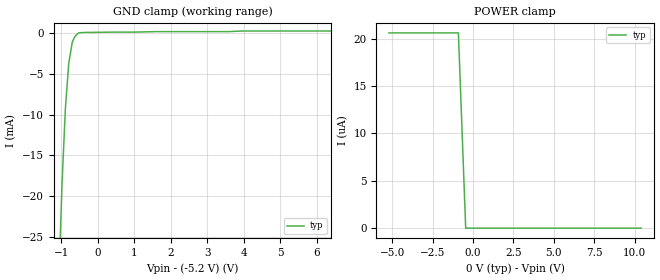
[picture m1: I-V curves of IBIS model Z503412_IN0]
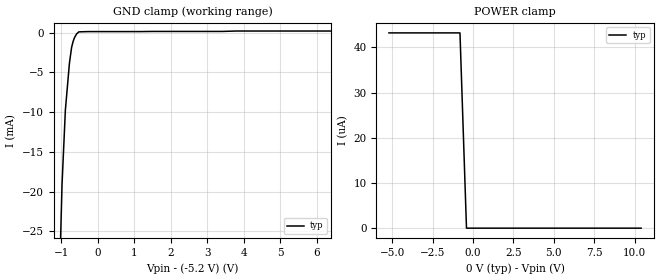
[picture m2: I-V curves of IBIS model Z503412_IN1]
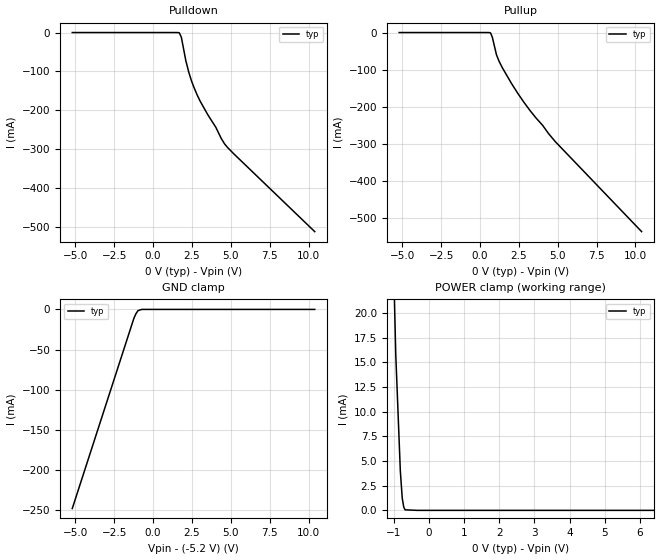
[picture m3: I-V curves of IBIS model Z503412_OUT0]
| YOU ARE ONLY AUTHORIZED TO USE THIS SOFTWARE
| ACCORDING TO LICENSOR'S LICENSE RESTRICTIONS.
[IBIS Ver] 3.1
[File Name] mc10e1652fn.ibs
[File Rev] 1
[Source]Derived from mc10e1651fn.ibs Measured and created by ICX Technology
[Date] 5/12/2004
[Copyright]
| (C) COPYRIGHT 1993-2000
| MENTOR GRAPHICS CORPORATION
| ICX STANDARD LIBRARY, ICX PROJECT MODELING,
| ICX CUSTOM MODELING, ICX VENDOR MODEL
| ALL RIGHTS RESERVED.
| THE FOLLOWING ARE TRADEMARKS OR SERVICE MARKS OF
| MENTOR GRAPHICS CORPORATION:ICX (R), ICX STANDARD
| LIBRARY(R), ICX PROJECT MODELING(R), ICX CUSTOM
| MODELING(R), qualityIBIS(TM), MODELVIEWER(TM),
| AND MODELEDITOR(TM)
| ALL COPIES OF SOFTWARE, INCLUDING BUT NOT LIMITED TO
| ANY MODIFICATIONS, ENHANCEMENTS OR DERIVATIVE WORKS,
| MUST CONTAIN ALL MENTOR GRAPHICS CORPORATION'S
| NOTICES AND LEGENDS, INCLUDING THOSE EMBEDDED IN
| SOFTWARE AND THOSE AFFIXED TO SOFTWARE MEDIUM
| AND CONTAINER, AS RECEIVED FROM MENTOR GRAPHICS
| CORPORATION.
|  ZAP Model Builder 2.7
[Component] MC10E1652FN
[Manufacturer] OnSemiconductor
[Package]
| variable   typ   min   max
R_pkg  .078ohms NA NA
L_pkg  3.58nH NA NA
C_pkg  .884pF NA NA
[Pin] signal_name  model_name  R_pin  L_pin C_pin
1 NC NC .076 3.3n .8p
2 GND GND .078 3.5n .87p
3 QA Z503412_OUT0 .08 3.8n .94p
4 _QA Z503412_OUT1 .08 3.8n .94p
5 _LENA Z503412_IN0 .078 3.5n .87p
6 NC NC .076 3.3n .8p
7 V2A Z503412_IN1 .078 3.5n .87p
8 V1A Z503412_IN1 .08 3.8n .94p
9 VCC POWER .08 3.8n .94p
10 VEE POWER .078 3.5n .87p
11 NC NC .076 3.3n .8p
12 HYS Z503412_IN0 .078 3.5n .87p
13 VCC POWER .08 3.8n .94p
14 V2B Z503412_IN1 .08 3.8n .94p
15 V1B Z503412_IN1 .078 3.5n .87p
16 NC NC .076 3.3n .8p
17 _LENB Z503412_IN0 .078 3.5n .87p
18 QB Z503412_OUT0 .08 3.8n .94p
19 _QB Z503412_OUT1 .08 3.8n .94p
20 GND GND .078 3.5n .87p
[Diff Pin] inv_pin vdiff tdelay_typ tdelay_min tdelay_max
3 4 NA .775ns .625ps .925ns
18 19 NA .775ns .625ps .925ns
| Models and submodels in the file (4): Z503412_IN0 (Input_ECL), Z503412_IN1 (Input_ECL), Z503412_OUT0 (Output_ECL), Z503412_OUT1 (Output_ECL)
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| (C) COPYRIGHT 1993-2000
| MENTOR GRAPHICS CORPORATION
| ICX STANDARD LIBRARY, ICX PROJECT MODELING,
| ICX CUSTOM MODELING, ICX VENDOR MODEL
| ALL RIGHTS RESERVED.
| THE FOLLOWING ARE TRADEMARKS OR SERVICE MARKS OF
| MENTOR GRAPHICS CORPORATION:ICX (R), ICX STANDARD
| LIBRARY(R), ICX PROJECT MODELING(R), ICX CUSTOM
| MODELING(R), qualityIBIS(TM), MODELVIEWER(TM),
| AND MODELEDITOR(TM)
| ALL COPIES OF SOFTWARE, INCLUDING BUT NOT LIMITED TO
| ANY MODIFICATIONS, ENHANCEMENTS OR DERIVATIVE WORKS,
| MUST CONTAIN ALL MENTOR GRAPHICS CORPORATION'S
| NOTICES AND LEGENDS, INCLUDING THOSE EMBEDDED IN
| SOFTWARE AND THOSE AFFIXED TO SOFTWARE MEDIUM
| AND CONTAINER, AS RECEIVED FROM MENTOR GRAPHICS
| CORPORATION.
| Model Application Version 1.89 2/18/99.
[Model] Z503412_IN0
Model_type Input_ECL
Vinl = -1.480V
Vinh = -1.130V
C_comp 2.000pF NA NA
| variable typ   min   max
[Voltage Range] -5.200V NA NA
[GND Clamp Reference] -5.200V NA NA
[POWER Clamp Reference] 0.000V NA NA
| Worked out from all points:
|   GND clamp passes 1 mA (typ) near -0.68 V on its own axis
[GND Clamp]
-5.2V     -832.2mA   NA         NA
-1.043V   -27.79mA   NA         NA
-976mV    -18.61mA   NA         NA
-884mV    -9.308mA   NA         NA
-791mV    -3.695mA   NA         NA
-693mV    -1.074mA   NA         NA
-615mV    -360.1uA   NA         NA
-513mV    37uA       NA         NA
3.97V     259.2uA    NA         NA
10.4V     259.2uA    NA         NA
[POWER Clamp]
-5.2V     20.6uA     NA         NA
-903.8mV  20.6uA     NA         NA
-451.9mV  0A         NA         NA
10.4V     0A         NA         NA
| (C) COPYRIGHT 1993-2000
| MENTOR GRAPHICS CORPORATION
| ICX STANDARD LIBRARY, ICX PROJECT MODELING,
| ICX CUSTOM MODELING, ICX VENDOR MODEL
| ALL RIGHTS RESERVED.
| THE FOLLOWING ARE TRADEMARKS OR SERVICE MARKS OF
| MENTOR GRAPHICS CORPORATION:ICX (R), ICX STANDARD
| LIBRARY(R), ICX PROJECT MODELING(R), ICX CUSTOM
| MODELING(R), qualityIBIS(TM), MODELVIEWER(TM),
| AND MODELEDITOR(TM)
| ALL COPIES OF SOFTWARE, INCLUDING BUT NOT LIMITED TO
| ANY MODIFICATIONS, ENHANCEMENTS OR DERIVATIVE WORKS,
| MUST CONTAIN ALL MENTOR GRAPHICS CORPORATION'S
| NOTICES AND LEGENDS, INCLUDING THOSE EMBEDDED IN
| SOFTWARE AND THOSE AFFIXED TO SOFTWARE MEDIUM
| AND CONTAINER, AS RECEIVED FROM MENTOR GRAPHICS
| CORPORATION.
| Model Application Version 1.89 2/18/99.
[Model] Z503412_IN1
Model_type Input_ECL
Vinl = -1.480V
Vinh = -1.130V
C_comp 2.000pF NA NA
| variable typ   min   max
[Voltage Range] -5.200V NA NA
[GND Clamp Reference] -5.200V NA NA
[POWER Clamp Reference] 0.000V NA NA
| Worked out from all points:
|   GND clamp passes 1 mA (typ) near -0.66 V on its own axis
[GND Clamp]
-5.2V     -681mA     NA         NA
-1.159V   -50.62mA   NA         NA
-975mV    -19.09mA   NA         NA
-884mV    -9.758mA   NA         NA
-772mV    -3.82mA    NA         NA
-713mV    -1.864mA   NA         NA
-674mV    -1.14mA    NA         NA
-635mV    -644.6uA   NA         NA
-576mV    -160.6uA   NA         NA
-513mV    97.08uA    NA         NA
10.4V     202.1uA    NA         NA
[POWER Clamp]
-5.2V     43.2uA     NA         NA
-805.9mV  43.2uA     NA         NA
-402.9mV  0A         NA         NA
10.4V     0A         NA         NA
| (C) COPYRIGHT 1993-2000
| MENTOR GRAPHICS CORPORATION
| ICX STANDARD LIBRARY, ICX PROJECT MODELING,
| ICX CUSTOM MODELING, ICX VENDOR MODEL
| ALL RIGHTS RESERVED.
| THE FOLLOWING ARE TRADEMARKS OR SERVICE MARKS OF
| MENTOR GRAPHICS CORPORATION:ICX (R), ICX STANDARD
| LIBRARY(R), ICX PROJECT MODELING(R), ICX CUSTOM
| MODELING(R), qualityIBIS(TM), MODELVIEWER(TM),
| AND MODELEDITOR(TM)
| ALL COPIES OF SOFTWARE, INCLUDING BUT NOT LIMITED TO
| ANY MODIFICATIONS, ENHANCEMENTS OR DERIVATIVE WORKS,
| MUST CONTAIN ALL MENTOR GRAPHICS CORPORATION'S
| NOTICES AND LEGENDS, INCLUDING THOSE EMBEDDED IN
| SOFTWARE AND THOSE AFFIXED TO SOFTWARE MEDIUM
| AND CONTAINER, AS RECEIVED FROM MENTOR GRAPHICS
| CORPORATION.
| Model Application Version 1.89 2/18/99.
[Model] Z503412_OUT0
Model_type Output_ECL
Vref=-2.000V
Rref=50.00ohms
Cref=0.000F
Vmeas=-1.305V
C_comp 2.000pF NA NA
| variable typ   min   max
[Voltage Range] -5.200V NA NA
[POWER Clamp Reference] 0.000V NA NA
[Pullup Reference] 0.000V NA NA
[Pulldown Reference] 0.000V NA NA
[GND Clamp Reference] -5.200V NA NA
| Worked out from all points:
|   GND clamp passes 1 mA (typ) near -0.89 V on its own axis
|   POWER clamp passes 1 mA (typ) near -0.76 V on its own axis
[GND Clamp]
-5.2V     -248.3mA   NA         NA
-1.233V   -10.92mA   NA         NA
-1.104V   -5.391mA   NA         NA
-971mV    -1.513mA   NA         NA
-728.3mV  0A         NA         NA
10.4V     0A         NA         NA
[Pulldown]
-5.2V     220.8uA    NA         NA
1.685V    -534.8uA   NA         NA
1.816V    -11.68mA   NA         NA
2.104V    -72.08mA   NA         NA
2.292V    -101.6mA   NA         NA
2.628V    -141.2mA   NA         NA
3.028V    -176.8mA   NA         NA
4.038V    -244.3mA   NA         NA
4.38V     -272.6mA   NA         NA
4.604V    -287.3mA   NA         NA
5.195V    -312.7mA   NA         NA
10.4V     -513.2mA   NA         NA
[Pullup]
-5.2V     167.7uA    NA         NA
685mV     -1.312mA   NA         NA
795.8mV   -12.73mA   NA         NA
1.06V     -59.77mA   NA         NA
1.221V    -76.8mA    NA         NA
1.441V    -95.06mA   NA         NA
2.425V    -163.6mA   NA         NA
3.194V    -209.2mA   NA         NA
4.032V    -250.6mA   NA         NA
4.401V    -272.3mA   NA         NA
4.839V    -294.3mA   NA         NA
10.4V     -537.8mA   NA         NA
[POWER Clamp]
-5.2V     1.233A     NA         NA
-1.182V   59.15mA    NA         NA
-1.069V   33.14mA    NA         NA
-951.3mV  15.8mA     NA         NA
-820.8mV  3.987mA    NA         NA
-766.6mV  1.239mA    NA         NA
-722.9mV  315.9uA    NA         NA
-684.7mV  53.2uA     NA         NA
-342.4mV  0A         NA         NA
10.4V     0A         NA         NA
[Ramp]
| variable typ min max
dV/dt_r 532.0m/748.1p NA NA
dV/dt_f 532.0m/684.7p NA NA
R_load = 50.00Ohms
